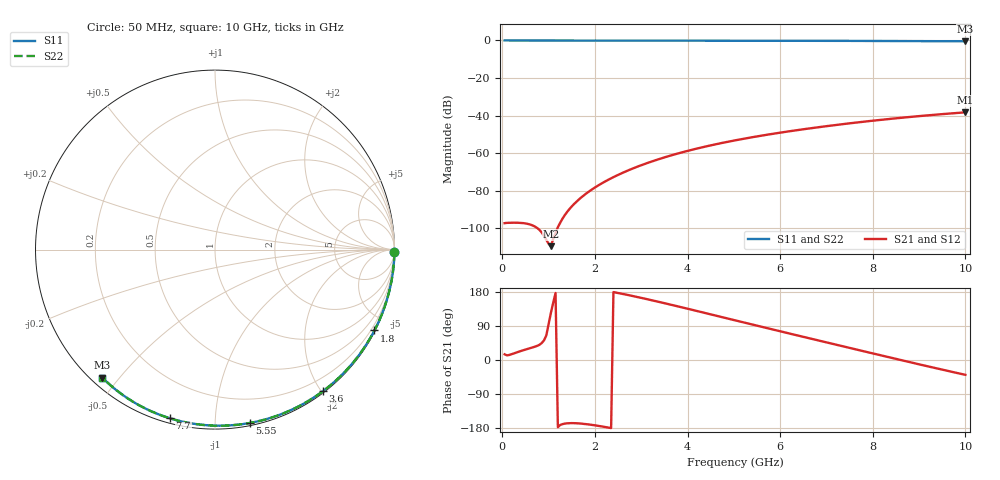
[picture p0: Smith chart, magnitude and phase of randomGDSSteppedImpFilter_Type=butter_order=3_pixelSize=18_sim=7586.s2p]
! freq	dB(S11)	phase(S11)	dB(S12)	phase(S12)
!  dB(S21)	phase(S21)	dB(S22)	phase(S22)
!S-par simulation data
#  GHz  S  DB  R 50
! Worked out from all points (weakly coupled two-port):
!   200 points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, 50 MHz to 10 GHz, reference 50 ohm
!   highest |S21| = -38.30 dB at 10 GHz (marker M1); lowest = -109.6 dB at 1.05 GHz (marker M2)
!   lowest |S11| = -0.4 dB at 10 GHz (marker M3), VSWR 39.14, Z = 1.54 - j22.6 ohm
!   |S11| at or under -10 dB: nowhere
!   |S22| runs from -0.4 to 0.0 dB; largest |S21 - S12| = 0
!   S11 on the Smith chart (normalised r, x): 50 MHz: open; 1.8 GHz: 0.04, -4.18; 3.6 GHz: 0.02, -2.02; 5.55 GHz: 0.02, -1.22; 7.7 GHz: 0.02, -0.77; 10 GHz: 0.03, -0.45
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0.05  -0.00 -0.7  -97.35 15.0  -97.35 15.0  -0.00 -0.7
0.55  -0.01 -8.3  -97.74 29.4  -97.74 29.4  -0.01 -8.3
1.05  -0.02 -15.8  -109.62 124.6  -109.62 124.6  -0.02 -15.8
1.75  -0.03 -26.2  -82.74 -168.4  -82.74 -168.4  -0.03 -26.2
1.8  -0.03 -26.9  -81.78 -169.1  -81.78 -169.1  -0.03 -26.9
1.9  -0.04 -28.4  -80.00 -170.6  -80.00 -170.6  -0.04 -28.4
2.05  -0.04 -30.6  -77.58 -173.3  -77.58 -173.3  -0.04 -30.6
2.25  -0.04 -33.5  -74.74 -177.4  -74.74 -177.4  -0.04 -33.5
2.65  -0.05 -39.2  -69.96 173.1  -69.96 173.1  -0.05 -39.2
3  -0.06 -44.2  -66.48 164.0  -66.48 164.0  -0.06 -44.2
3.4  -0.07 -49.8  -63.09 152.8  -63.09 152.8  -0.07 -49.8
3.6  -0.07 -52.6  -61.57 147.1  -61.57 147.1  -0.07 -52.6
3.9  -0.08 -56.7  -59.50 138.3  -59.50 138.3  -0.08 -56.7
4.3  -0.09 -62.2  -57.03 126.4  -57.03 126.4  -0.09 -62.2
5.05  -0.11 -72.1  -53.12 104.0  -53.12 104.0  -0.11 -72.1
5.55  -0.13 -78.6  -50.92 89.1  -50.92 89.1  -0.13 -78.6
6.1  -0.15 -85.5  -48.76 72.8  -48.76 72.8  -0.15 -85.5
6.7  -0.18 -92.9  -46.65 55.2  -46.65 55.2  -0.18 -92.9
7.7  -0.24 -104.9  -43.58 26.1  -43.58 26.1  -0.24 -104.9
8.35  -0.29 -112.5  -41.85 7.2  -41.85 7.2  -0.29 -112.5
9.15  -0.36 -121.7  -39.99 -15.7  -39.99 -15.7  -0.36 -121.7
10  -0.44 -131.3  -38.30 -39.1  -38.30 -39.1  -0.44 -131.3
